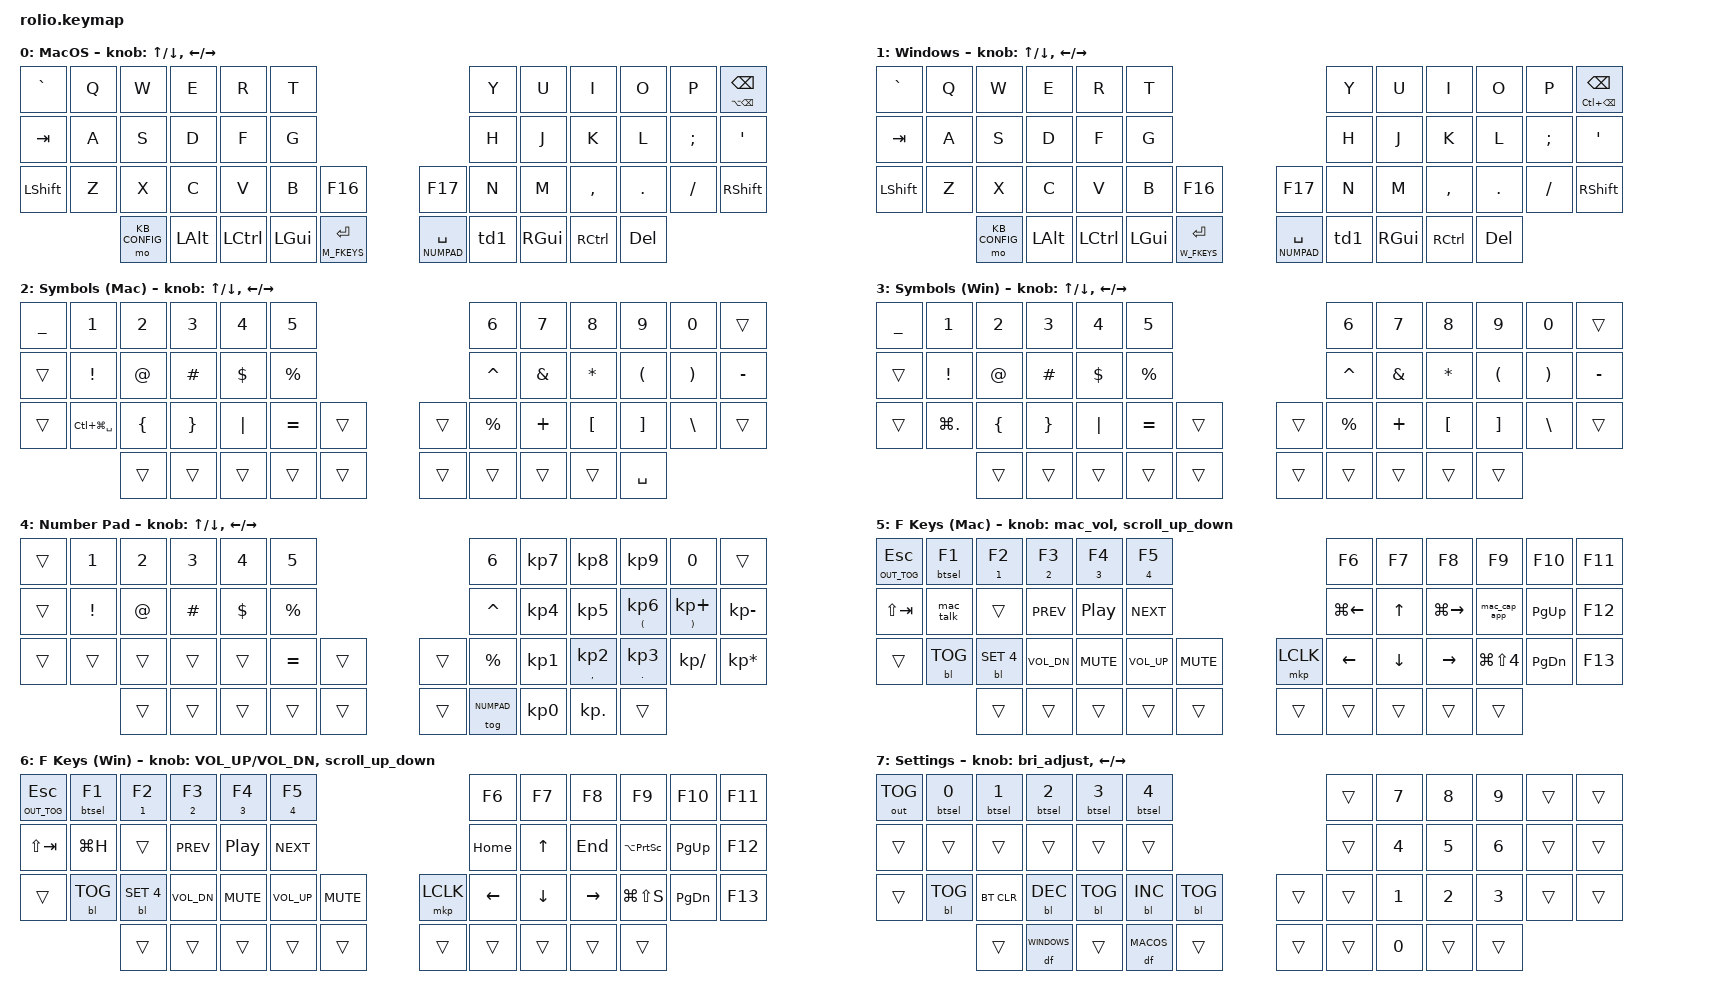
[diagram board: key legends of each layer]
/*
 * Copyright (c) 2023 The ZMK Contributors
 *
 * SPDX-License-Identifier: MIT
 */

#include <behaviors.dtsi>
#include <dt-bindings/zmk/keys.h>
#include <dt-bindings/zmk/bt.h>
#include <dt-bindings/zmk/outputs.h>
#include <dt-bindings/zmk/backlight.h>
#include <dt-bindings/zmk/pointing.h>
#include "elpekenin/behaviors.dtsi"

#define ZMK_POINTING_DEFAULT_SCRL_VAL 100

#define MACOS     0
#define WINDOWS   1
#define M_SYMBOLS 2
#define W_SYMBOLS 3
#define NUMPAD    4
#define M_FKEYS   5
#define W_FKEYS   6
#define KB_CONFIG 7


/ {

    conditional_layers {
        compatible = "zmk,conditional-layers";
        windows_symbols {
            if-layers = <WINDOWS M_SYMBOLS>;
            then-layer = <W_SYMBOLS>;
        };
    };


    behaviors {
        // Toggle Numbers layer
        td1: Toggle_Numpad {
            display-name = "Toggle Number Pad";
            compatible = "zmk,behavior-tap-dance";
            #binding-cells = <0>;
            tapping-term-ms = <300>;
            bindings = <&mo M_SYMBOLS>, <&tog NUMPAD>;
        };
        //Backlight Brightness
        bri_adjust: Brightness_Scroller {
            label = "Scroller Brightness Adjust";
            compatible = "zmk,behavior-sensor-rotate";
            #sensor-binding-cells = <0>;
            bindings = <&bl BL_INC>, <&bl BL_DEC>;
        };
        // Encoder to Mouse Scroll
        scroll_up_down: Mouse_Scroller {
            label = "Scroller As Mouse Wheel";
            compatible = "zmk,behavior-sensor-rotate";
            #sensor-binding-cells = <0>;
            bindings = <&msc SCRL_UP>, <&msc SCRL_DOWN>;
            tap-ms = <20>;
        };
        // Hold to choose BT profile or tap for key press
        btkp: btsel_or_kp {
            display-name = "Bluetooth Select Or Key Press";
            compatible = "zmk,behavior-hold-tap";
            #binding-cells = <2>;
            flavor = "tap-preferred";
            tapping-term-ms = <200>;
            quick-tap-ms = <200>;
            require-prior-idle-ms = <125>;
            bindings = <&btsel>, <&kp>;
        };
        // Hold to select output or tap for key press
        usb_tog: usb_tog {
            display-name = "Set Output Or Key Press";
            compatible = "zmk,behavior-hold-tap";
            #binding-cells = <2>;
            flavor = "tap-preferred";
            tapping-term-ms = <200>;
            quick-tap-ms = <200>;
            require-prior-idle-ms = <125>;
            bindings = <&out>, <&kp>;
        };
        // Small volume steps for MacOS
        mac_vol: Mac_Volume_Scroller {
            label = "Scroller MacOS Small Volume Steps";
            compatible = "zmk,behavior-sensor-rotate";
            #sensor-binding-cells = <0>;
            bindings = <&kp LS(LA(C_VOL_UP))>, <&kp LS(LA(C_VOL_DN))>;
        };
        // Behave like "mod-tap" without the keyrepeat
        mtos: mtos {
            display-name = "Mod-Tap (No Repeat)";
            compatible = "zmk,behavior-hold-tap";
            tapping-term-ms = <135>;
            #binding-cells = <2>;
            flavor = "tap-preferred";
            bindings = <&kpss>, <&kp>;
        };
    };

    macros{
        btsel: btsel {
            display-name = "Bluetooth Profile Select";
            compatible = "zmk,behavior-macro-one-param";
            #binding-cells = <1>;
            bindings = <&macro_param_1to2>
                , <&bt BT_SEL MACRO_PLACEHOLDER>;
        };
        // Invoke MacOS dictation
        mac_talk: mac_talk {
            display-name = "MacOS Dictation";
            compatible = "zmk,behavior-macro";
            #binding-cells = <0>;
            bindings
                = <&kp GLOBE>
                , <&macro_wait_time 125>
                , <&kp GLOBE>
                ;
        };
        // MacOS Screenshot Current App
        mac_cap_app: mac_cap_app {
            display-name = "MacOS Screenshot App";
            compatible = "zmk,behavior-macro";
            #binding-cells = <0>;
            tap-ms = <70>;
            bindings
                = <&macro_tap &kp LG(LS(N4))>
                , <&macro_wait_time 300>
                , <&macro_tap &kp SPACE>
                , <&macro_wait_time 300>
                , <&macro_tap &mkp LCLK>
                ;
        };
        // Macro KP
        kpss: kpss {
            display-name = "Key Press (No Repeat)";
            compatible = "zmk,behavior-macro-one-param";
            #binding-cells = <1>;
            bindings = <&macro_param_1to1>
                , <&macro_tap &kp MACRO_PLACEHOLDER>;
        };
    };

    keymap {
        compatible = "zmk,keymap";

        default_layer {
            display-name = "MacOS";
            sensor-bindings = <&inc_dec_kp UP DOWN &inc_dec_kp LEFT RIGHT>;
            bindings = <
//----------------------------------------------------------------+                                        +---------------------------------------------------------------//
//          |         |          |           |          |         |                                        |       |       |           |         |          |           // 
  &kp GRAVE   &kp Q     &kp W      &kp E        &kp R     &kp T                                             &kp Y   &kp U     &kp I      &kp O     &kp P       &mt LA(BSPC) BSPC
//          |         |          |           |          |         |                                        |       |       |           |         |          |           //
  &kp TAB     &kp A     &kp S      &kp D        &kp F     &kp G                                              &kp H   &kp J     &kp K      &kp L    &kp SEMI    &kp SQT
//          |         |          |           |          |         +--------------------+ +-----------------|       |       |           |         |          |           //
  &kp LSHIFT  &kp Z     &kp X      &kp C        &kp V     &kp B      &kp F16                  &kp F17        &kp N   &kp M   &kp COMMA   &kp DOT    &kp FSLH   &kp RSHIFT
//--------------------|          |           |          |         |                    | |                 |       |       |            |--------------------------------//  
                     &mo KB_CONFIG  &kp LALT   &kp LCTRL  &kp LGUI   &lt M_FKEYS ENTER    &lt NUMPAD SPACE   &td1   &kp RGUI  &kp RCTRL   &kp DEL
//                    +----------|-----------|----------|-----------------------------+  +-----------------|-------|--------|-----------|---------+                      //
            >;
        };


        windows_default_layer {
            display-name = "Windows";
            sensor-bindings = <&inc_dec_kp UP DOWN &inc_dec_kp LEFT RIGHT>;
            bindings = <
//----------------------------------------------------------------+                                        +---------------------------------------------------------------//
//          |         |          |           |          |         |                                        |       |       |           |         |          |           // 
  &kp GRAVE   &kp Q     &kp W      &kp E        &kp R     &kp T                                             &kp Y   &kp U     &kp I      &kp O     &kp P       &mt LC(BSPC) BSPC
//          |         |          |           |          |         |                                        |       |       |           |         |          |           //
  &kp TAB     &kp A     &kp S      &kp D        &kp F     &kp G                                              &kp H   &kp J     &kp K      &kp L    &kp SEMI    &kp SQT
//          |         |          |           |          |         +--------------------+ +-----------------|       |       |           |         |          |           //
  &kp LSHIFT  &kp Z     &kp X      &kp C        &kp V     &kp B      &kp F16                  &kp F17        &kp N   &kp M   &kp COMMA   &kp DOT    &kp FSLH   &kp RSHIFT
//--------------------|          |           |          |         |                    | |                 |       |       |            |--------------------------------//  
                     &mo KB_CONFIG  &kp LALT   &kp LCTRL  &kp LGUI   &lt W_FKEYS ENTER     &lt NUMPAD SPACE   &td1   &kp RGUI  &kp RCTRL   &kp DEL
//                    +----------|-----------|----------|-----------------------------+  +-----------------|-------|--------|-----------|---------+                      //
            >;
        };


        macos_symbols_layer {
            display-name = "Symbols (Mac)";
            sensor-bindings = <&inc_dec_kp UP DOWN &inc_dec_kp LEFT RIGHT>;
            bindings = <
//---------------------------------------------------------------------------------------+                      +----------------------------------------------------------------------------//
//          |                  |                |                 |          |           |                      |           |               |          |          |               |          // 
  &kp UNDER       &kp N1             &kp N2           &kp N3         &kp N4     &kp N5                             &kp N6        &kp N7        &kp N8     &kp N9       &kp N0        &trans
//          |                  |                |                 |          |           |                      |           |               |          |          |               |          // 
    &trans       &kp EXCL            &kp AT          &kp HASH       &kp DLLR   &kp PRCNT                          &kp CARET   &kp AMPERSAND   &kp STAR   &kp LPAR     &kp RPAR      &kp MINUS
//          |                  |                |                 |          |           +--------+     +-------|           |               |                     |               |          // 
   &trans    &kp LC(LG(SPACE))   &kp LEFT_BRACE   &kp RIGHT_BRACE   &kp PIPE   &kp EQUAL   &trans        &trans   &kp PRCNT     &kp PLUS      &kp LBKT   &kp RBKT   &kp BACKSLASH   &trans
//-----------------------------|                |                 |          |           |        |    |                    |               |          |          |--------------------------//
                                    &trans            &trans         &trans     &trans     &trans        &trans    &trans       &trans         &trans     &kp SPACE
//                             +----------------|-----------------|----------|-----------|--------+    +--------|----------|----------------|----------|----------+                          //
            >;
        };


        windows_symbols_layer {
            display-name = "Symbols (Win)";
            sensor-bindings = <&inc_dec_kp UP DOWN &inc_dec_kp LEFT RIGHT>;
            bindings = <
//---------------------------------------------------------------------------------------+                      +----------------------------------------------------------------------------//
//          |                  |                |                 |          |           |                      |           |               |          |          |               |          // 
  &kp UNDER       &kp N1             &kp N2           &kp N3         &kp N4     &kp N5                             &kp N6        &kp N7        &kp N8     &kp N9       &kp N0        &trans
//          |                  |                |                 |          |           |                      |           |               |          |          |               |          // 
    &trans       &kp EXCL            &kp AT          &kp HASH       &kp DLLR   &kp PRCNT                          &kp CARET   &kp AMPERSAND   &kp STAR   &kp LPAR     &kp RPAR      &kp MINUS
//          |                  |                |                 |          |           +--------+     +-------|           |               |                     |               |          // 
   &trans       &kp LG(DOT)      &kp LEFT_BRACE   &kp RIGHT_BRACE   &kp PIPE   &kp EQUAL   &trans        &trans   &kp PRCNT     &kp PLUS      &kp LBKT   &kp RBKT   &kp BACKSLASH   &trans
//-----------------------------|                |                 |          |           |        |    |                    |               |          |          |--------------------------//
                                    &trans            &trans         &trans     &trans     &trans        &trans    &trans       &trans         &trans     &trans
//                             +----------------|-----------------|----------|-----------|--------+    +--------|----------|----------------|----------|----------+                          //
            >;
        };


        numpad_layer {
            display-name = "Number Pad";
            sensor-bindings = <&inc_dec_kp UP DOWN &inc_dec_kp LEFT RIGHT>;
            bindings = <
//-----------------------------------------------------------------+                        +-----------------------------------------------------------------------------------------------//
//          |          |          |          |          |          |                        |           |               |                 |                |                  |             // 
    &trans    &kp N1      &kp N2    &kp N3     &kp N4     &kp N5                              &kp N6         &kp KP_N7    &kp KP_N8        &kp KP_N9        &kp N0             &trans 
//          |          |          |          |          |          |                        |           |               |                 |                |                  |             // 
    &trans    &kp EXCL    &kp AT    &kp HASH   &kp DLLR   &kp PRCNT                           &kp CARET      &kp KP_N4    &kp KP_N5        &mt LPAR KP_N6   &mt RPAR KP_PLUS   &kp KP_MINUS
//          |          |          |          |          |          +--------+     +---------|           |               |                 |                |                  |             // 
    &trans     &trans     &trans     &trans     &trans    &kp EQUAL  &trans         &trans    &kp PRCNT      &kp KP_N1    &mt COMMA KP_N2  &mt DOT KP_N3    &kp KP_DIVIDE      &kp KP_MULTIPLY
//---------------------|          |          |          |          |        |     |         |           |               |                 |                |--------------------------------//
                          &trans     &trans     &trans     &trans    &trans         &trans   &tog NUMPAD     &kp KP_N0    &kp KP_DOT       &trans
//                     +----------|----------|----------|----------|--------+     +---------|-----------|---------------|-----------------|----------------+                                //
            >;
      };


        macos_f_keys_layer {
            display-name = "F Keys (Mac)";
            sensor-bindings = <&mac_vol &scroll_up_down>;
            bindings = <
//-------------------------------------------------------------------------------+                           +---------------------------------------------------------------------------//
//          |            |            |              |            |              |                           |          |          |           |                 |           |           // 
  &usb_tog OUT_TOG ESCAPE
              &btkp 0 F1   &btkp 1 F2    &btkp 2 F3    &btkp 3 F4   &btkp 4 F5                                  &kp F6    &kp F7      &kp F8         &kp F9        &kp F10     &kp F11
//          |            |            |              |            |              |                           |          |          |           |                 |           |           // 
  &kp LS(TAB) &mac_talk      &trans      &kp C_PREV    &kp C_PP     &kp C_NEXT                              &kp LG(LEFT)  &kp UP  &kp LG(RIGHT)   &mac_cap_app     &kp PG_UP   &kp F12
//          |            |            |              |            |              +-------------+    +--------+          |          |           |                 |           |           // 
    &trans    &bl BL_TOG  &bl BL_SET 4  &kp C_VOL_DN   &kp C_MUTE   &kp C_VOL_UP    &kp C_MUTE     &mkp LCLK   &kp LEFT   &kp DOWN   &kp RIGHT    &kp LG(LS(N4))   &kp PG_DN    &kp F13
//-----------------------|            |              |            |              |             |    |        |          |          |           |         |-------------------------------//  
                            &trans         &trans       &trans        &trans        &trans            &trans    &trans    &trans      &trans     &trans
//                       +------------|--------------|------------|--------------|-------------+    +--------|----------|----------|-----------|---------+                               //
            >;

        };

        windows_f_keys_layer {
            display-name = "F Keys (Win)";
            sensor-bindings = <&inc_dec_kp C_VOL_UP C_VOL_DN &scroll_up_down>;
            bindings = <
//-------------------------------------------------------------------------------+                           +---------------------------------------------------------------------------//
//          |            |            |              |            |              |                           |          |          |           |                 |           |           // 
  &usb_tog OUT_TOG ESCAPE
              &btkp 0 F1   &btkp 1 F2    &btkp 2 F3    &btkp 3 F4   &btkp 4 F5                                  &kp F6    &kp F7      &kp F8         &kp F9        &kp F10     &kp F11
//          |            |            |              |            |              |                           |          |          |           |                 |           |           // 
  &kp LS(TAB) &kp LG(H)      &trans      &kp C_PREV    &kp C_PP     &kp C_NEXT                                  &kp HOME  &kp UP      &kp END  &kp LA(PRINTSCREEN) &kp PG_UP   &kp F12
//          |            |            |              |            |              +-------------+    +--------+          |          |           |                 |           |           // 
    &trans    &bl BL_TOG  &bl BL_SET 4  &kp C_VOL_DN   &kp C_MUTE   &kp C_VOL_UP    &kp C_MUTE     &mkp LCLK   &kp LEFT   &kp DOWN   &kp RIGHT    &kp LG(LS(S))    &kp PG_DN   &kp F13
//-----------------------|            |              |            |              |             |    |        |          |          |           |         |-------------------------------//  
                            &trans         &trans       &trans        &trans        &trans            &trans    &trans    &trans      &trans     &trans
//                       +------------|--------------|------------|--------------|-------------+    +--------|----------|----------|-----------|---------+                               //
            >;

        };


      settings_layer {
            display-name = "Settings";
            sensor-bindings = <&bri_adjust &inc_dec_kp LEFT RIGHT>;
            bindings = <
//---------------------------------------------------------------------------------------+                        +------------------------------------------------------------------//
//          |              |              |              |              |                |                        |          |          |          |          |          |           // 
 &out OUT_TOG   &btsel 0        &btsel 1      &btsel 2        &btsel 3       &btsel 4                                &trans     &kp N7     &kp N8     &kp N9     &trans     &trans
//          |              |              |              |              |                |                        |          |          |          |          |          |           // 
    &trans       &trans         &trans         &trans         &trans         &trans                                  &trans     &kp N4     &kp N5     &kp N6     &trans     &trans
//          |              |              |              |              |                +--------+     +---------|          |          |          |          |          |           // 
    &trans     &bl BL_TOG       &bt BT_CLR   &bl BL_DEC     &bl BL_TOG      &bl BL_INC   &bl BL_TOG       &trans     &trans     &kp N1     &kp N2     &kp N3     &trans     &trans
//-------------------------|              |              |              |                |        |     |         |          |          |          |          |----------------------//
                               &trans        &df WINDOWS       &trans        &df MACOS     &trans         &trans     &trans     &kp N0     &trans     &trans
//                         +--------------|--------------|--------------|----------------|--------+     +----------|---------|----------|----------|----------+                      //
            >;
        };


        // Extra layers for ZMK Studio
        extra1 {
            status = "reserved";
        };
        extra2 {
            status = "reserved";
        };
        extra3 {
            status = "reserved";
        };

    };

};
